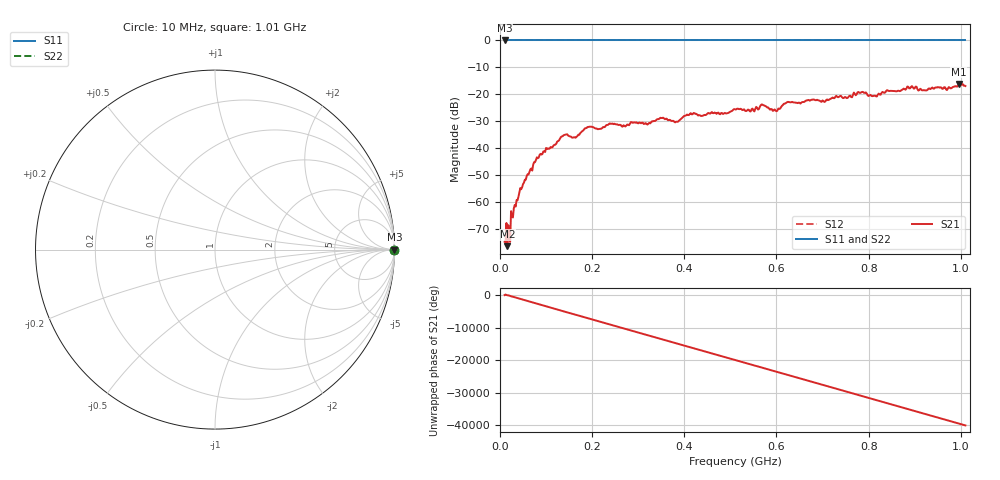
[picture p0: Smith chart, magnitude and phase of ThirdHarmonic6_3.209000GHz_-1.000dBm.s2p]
! 8/17/2025 9:46:03 AM
! C:\ANRITSUVNA\TEMP\TEMP.S2P
! CHANNEL.1
! TR.MEASUREMENT
! RAW.DATA
! RF.CORRECTION.OFF
! AVERAGING.OFF
! IF.BANDWIDTH: 5KHZ
! SWEEPTYPE:  FREQ.SWEEP(Linear)
! Reference Plane Port Info
! PORT:  PORT1  PORT2
! DISTANCE:  0  m  0  m
! TIME:  0  s  0  s
! PHASE.OFFSET:  0  deg.  0  deg.
! LOSS:  0  dB  0  dB
! REF.LOSS:  0  dB  0  dB
! REF.FREQ:  0  Hz  0  Hz
! Power Info
! POWER:  -20  dBm  -20  dBm
! EFF.POWER:  -20  dBm  -20  dBm
! SOURCE.ATTEN:  0  dB  0  dB
! TEST.ATTEN:  0  dB  0  dB
# GHZ S RI R 50.0
! FREQ.GHZ  S11RE  S11IM  S21RE  S21IM  S12RE  S12IM  S22RE  S22IM
!; PortSelection: Port_12
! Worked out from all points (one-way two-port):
!   501 points, 10 MHz to 1.01 GHz, reference 50 ohm
!   highest |S21| = -16.22 dB at 996 MHz (marker M1); lowest = -76.6 dB at 16 MHz (marker M2)
!   lowest |S11| = 0.0 dB at 10 MHz (marker M3)
!   |S11| at or under -10 dB: nowhere
!   |S22| runs from 0.0 to 0.0 dB; largest |S21 - S12| = 1.1
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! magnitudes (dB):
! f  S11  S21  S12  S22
! 10 MHz  0.0  -74.9  0.0  0.0
! 16 MHz  0.0  -76.6  0.0  0.0
! 24 MHz  0.0  -63.5  0.0  0.0
! 28 MHz  0.0  -65.9  0.0  0.0
! 46 MHz  0.0  -55.4  0.0  0.0
! 78 MHz  0.0  -44.5  0.0  0.0
! 136 MHz  0.0  -35.6  0.0  0.0
! 162 MHz  0.0  -36.0  0.0  0.0
! 178 MHz  0.0  -33.8  0.0  0.0
! 344 MHz  0.0  -29.3  0.0  0.0
! 382 MHz  0.0  -30.2  0.0  0.0
! 416 MHz  0.0  -27.5  0.0  0.0
! 510 MHz  0.0  -25.6  0.0  0.0
! 570 MHz  0.0  -23.9  0.0  0.0
! 598 MHz  0.0  -26.1  0.0  0.0
! 624 MHz  0.0  -22.9  0.0  0.0
! 678 MHz  0.0  -22.1  0.0  0.0
! 782 MHz  0.0  -19.5  0.0  0.0
! 814 MHz  0.0  -20.5  0.0  0.0
! 844 MHz  0.0  -18.8  0.0  0.0
! 996 MHz  0.0  -16.2  0.0  0.0
! 1.01 GHz  0.0  -17.0  0.0  0.0
